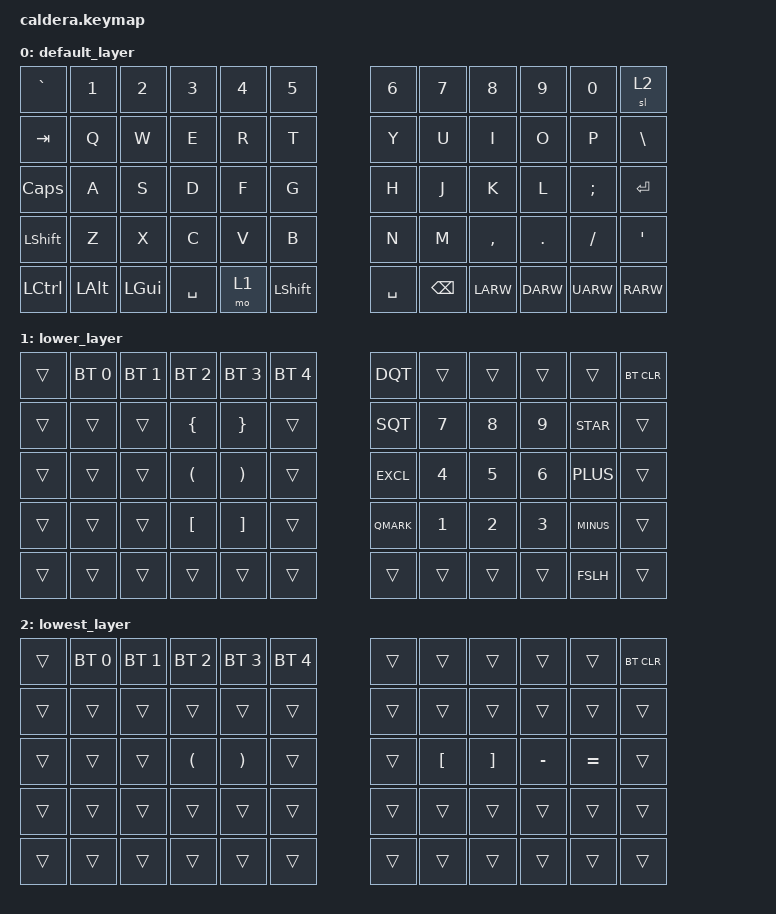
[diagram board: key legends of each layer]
#include <behaviors.dtsi>
#include <dt-bindings/zmk/keys.h>
#include <dt-bindings/zmk/bt.h>

/ {
        keymap {
                compatible = "zmk,keymap";

                default_layer {
// ---------------------------------------------------------------------------------
// |   `  |  1  |  2  |  3  |  4  |  5   |     |  6  |  7  |  8  |  9  |  0  | BKSP |
// |  TAB |  Q  |  W  |  E  |  R  |  T   |     |  Y  |  U  |  I  |  O  |  P  |  \   |
// | CAPS |  A  |  S  |  D  |  F  |  G   |     |  H  |  J  |  K  |  L  |  ;  |  ENT |
// | SHFT |  Z  |  X  |  C  |  V  |  B   |     |  N  |  M  |  ,  |  .  |  /  | APOS |
// | CTRL | ALT | GUI | SPC | LOW | SHFT |     | SPC | BKSP|LARW |DARW |UARW | RARW |
                        bindings = <
   &kp GRAVE  &kp N1    &kp N2    &kp N3     &kp N4     &kp N5               &kp N6     &kp N7    &kp N8     &kp N9    &kp N0    &sl 2
   &kp TAB    &kp Q     &kp W     &kp E      &kp R      &kp T                &kp Y      &kp U     &kp I      &kp O     &kp P     &kp BSLH
   &kp CAPS   &kp A     &kp S     &kp D      &kp F      &kp G                &kp H      &kp J     &kp K      &kp L     &kp SEMI  &kp RET
   &kp LSHFT  &kp Z     &kp X     &kp C      &kp V      &kp B                &kp N      &kp M     &kp COMMA  &kp DOT   &kp FSLH  &kp APOS
   &kp LCTRL  &kp LALT  &kp LGUI  &kp SPACE  &mo 1      &kp LSHFT            &kp SPACE  &kp BSPC  &kp LARW   &kp DARW  &kp UARW  &kp RARW
                        >;
                };
                lower_layer {
// ------------------------------------------------------------------------------------------------------------
// |       |  BT1  |  BT2  |  BT3  |  BT4  |  BT5  |          |   "   |       |       |       |       | BTCLR |
// |       |       |       |   {   |   }   |       |          |   '   |   7   |   8   |   9   |   *   |       |
// |       |       |       |   (   |   )   |       |          |   !   |   4   |   5   |   6   |   +   |       |
// |       |       |       |   [   |   ]   |       |          |   ?   |   1   |   2   |   3   |   -   |       |
// |       |       |       |       |       |       |          |  SPC  |   0   |   .   |  ENT  |   /   |       |
                        bindings = <
   &trans    &bt BT_SEL 0   &bt BT_SEL 1   &bt BT_SEL 2   &bt BT_SEL 3   &bt BT_SEL 4           &DQT     &trans    &trans   &trans   &trans  &bt BT_CLR
   &trans    &trans         &trans         &kp LBRC       &kp RBRC       &trans                 &SQT     &kp N7    &kp N8   &kp N9   &STAR   &trans
   &trans    &trans         &trans         &kp LPAR       &kp RPAR       &trans                 &EXCL    &kp N4    &kp N5   &kp N6   &PLUS   &trans
   &trans    &trans         &trans         &kp LBKT       &kp RBKT       &trans                 &QMARK   &kp N1    &kp N2   &kp N3   &MINUS  &trans
   &trans    &trans         &trans         &trans         &trans         &trans                 &trans   &trans    &trans   &trans   &FSLH   &trans
                        >;
                };
                lowest_layer {
// ------------------------------------------------------------------------------------------------------------
// |       |  BT1  |  BT2  |  BT3  |  BT4  |  BT5  |          |       |       |       |       |       | BTCLR |
// |       |       |       |       |       |       |          |       |       |       |       |       |       |
// |       |       |       | LPAR  | RPAR  |       |          |       | LBKT  | RBKT  |       |       |       |
// |       |       |       |       |       |       |          |       |       |       |       |       |       |
                        bindings = <
   &trans    &bt BT_SEL 0   &bt BT_SEL 1   &bt BT_SEL 2   &bt BT_SEL 3   &bt BT_SEL 4           &trans    &trans    &trans    &trans     &trans     &bt BT_CLR
   &trans    &trans         &trans         &trans         &trans         &trans                 &trans    &trans    &trans    &trans     &trans     &trans
   &trans    &trans         &trans         &kp LPAR       &kp RPAR       &trans                 &trans    &kp LBKT  &kp RBKT  &kp MINUS  &kp EQUAL  &trans
   &trans    &trans         &trans         &trans         &trans         &trans                 &trans    &trans    &trans    &trans     &trans     &trans
   &trans    &trans         &trans         &trans         &trans         &trans                 &trans    &trans    &trans    &trans     &trans     &trans
                        >;
                };
        };
};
